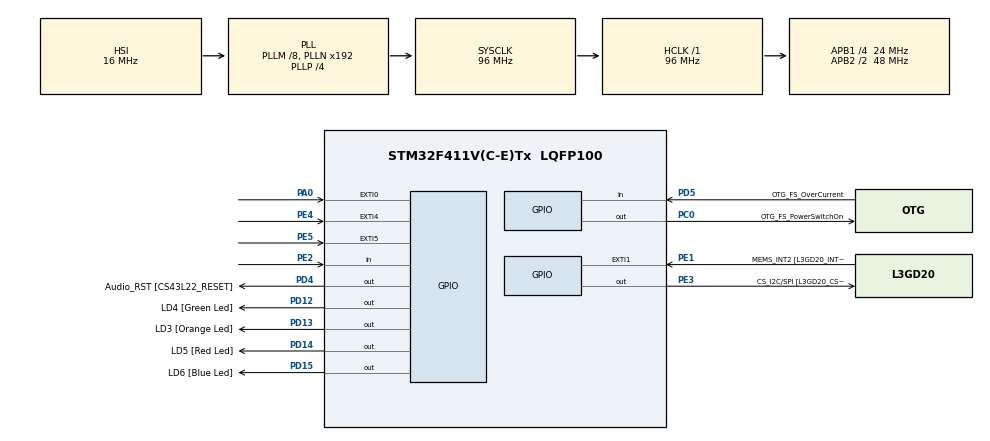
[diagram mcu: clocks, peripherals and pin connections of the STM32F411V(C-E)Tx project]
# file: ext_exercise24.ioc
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FREERTOS.BinarySemaphores01=Blue2Green,Dynamic,NULL;Blue2Red,Dynamic,NULL
FREERTOS.INCLUDE_uxTaskGetStackHighWaterMark=1
FREERTOS.Tasks01=GreenLED,0,128,StartGreenLED,Default,NULL,Dynamic,NULL,NULL;RedLED,0,128,StartRedLED,Default,NULL,Dynamic,NULL,NULL;BlueLED,0,128,StartBueLED,Default,NULL,Dynamic,NULL,NULL
Mcu.Family=STM32F4
Mcu.Name=STM32F411V(C-E)Tx
Mcu.Package=LQFP100
NVIC.PriorityGroup=NVIC_PRIORITYGROUP_4
NVIC.TIM1_UP_TIM10_IRQn=true\:0\:0\:false\:false\:true\:false\:false\:true
NVIC.TimeBase=TIM1_UP_TIM10_IRQn
NVIC.TimeBaseIP=TIM1
PA0-WKUP.GPIO_ModeDefaultEXTI=GPIO_MODE_EVT_RISING
PA0-WKUP.Signal=GPXTI0
PA10.GPIO_Label=OTG_FS_ID
PA10.Signal=USB_OTG_FS_ID
PA11.GPIO_Label=OTG_FS_DM
PA11.Signal=USB_OTG_FS_DM
PA12.GPIO_Label=OTG_FS_DP
PA12.Signal=USB_OTG_FS_DP
PA13.GPIO_Label=SWDIO
PA13.Signal=SYS_JTMS-SWDIO
PA14.GPIO_Label=SWCLK
PA14.Signal=SYS_JTCK-SWCLK
PA4.GPIO_Label=I2S3_WS [CS43L22_LRCK]
PA4.GPIO_Mode=GPIO_MODE_AF_PP
PA4.GPIO_PuPd=GPIO_NOPULL
PA4.GPIO_Speed=GPIO_SPEED_FREQ_LOW
PA4.Signal=I2S3_WS
PA5.GPIO_Label=SPI1_SCK [L3GD20_SC/SPC]
PA5.Signal=SPI1_SCK
PA6.GPIO_Label=SPI1_MISO [L3GD20_AS0/SDO]
PA6.Signal=SPI1_MISO
PA7.GPIO_Label=SPI1_MOSI [L3GD20_SDA/SDI/SDO]
PA7.Signal=SPI1_MOSI
PA9.GPIO_Label=VBUS_FS
PA9.Signal=USB_OTG_FS_VBUS
PB10.GPIO_Label=CLK_IN [MP45DT02_CLK]
PB10.Signal=I2S2_CK
PB12.Signal=I2S2_WS
PB3.GPIO_Label=SWO
PB3.Signal=SYS_JTDO-SWO
PB6.GPIO_Label=Audio_SCL [CS43L22_SCL]
PB6.GPIO_Mode=GPIO_MODE_AF_OD
PB6.GPIO_PuPd=GPIO_NOPULL
PB6.GPIO_Speed=GPIO_SPEED_FREQ_LOW
PB6.Signal=I2C1_SCL
PB9.GPIO_Label=Audio_SDA [CS43L22_SDA]
PB9.GPIO_Mode=GPIO_MODE_AF_OD
PB9.GPIO_PuPd=GPIO_NOPULL
PB9.GPIO_Speed=GPIO_SPEED_FREQ_LOW
PB9.Signal=I2C1_SDA
PC0.GPIO_Label=OTG_FS_PowerSwitchOn
PC0.PinState=GPIO_PIN_SET
PC0.Signal=GPIO_Output
PC10.GPIO_Label=I2S3_SCK [CS43L22_SCLK]
PC10.GPIO_Mode=GPIO_MODE_AF_PP
PC10.GPIO_PuPd=GPIO_NOPULL
PC10.GPIO_Speed=GPIO_SPEED_FREQ_LOW
PC10.Signal=I2S3_CK
PC12.GPIO_Label=I2S3_SD [CS43L22_SDIN]
PC12.GPIO_Mode=GPIO_MODE_AF_PP
PC12.GPIO_PuPd=GPIO_NOPULL
PC12.GPIO_Speed=GPIO_SPEED_FREQ_LOW
PC12.Signal=I2S3_SD
PC14-OSC32_IN.GPIO_Label=PC14-OSC32_IN
PC14-OSC32_IN.Signal=RCC_OSC32_IN
PC15-OSC32_OUT.GPIO_Label=PC15-OSC32_OUT
PC15-OSC32_OUT.Signal=RCC_OSC32_OUT
PC3.GPIO_Label=PDM_OUT [MP45DT02_DOUT]
PC3.Signal=I2S2_SD
PC7.GPIO_Label=I2S3_MCK [CS43L22_MCLK]
PC7.GPIO_Mode=GPIO_MODE_AF_PP
PC7.GPIO_PuPd=GPIO_NOPULL
PC7.GPIO_Speed=GPIO_SPEED_FREQ_LOW
PC7.Signal=I2S3_MCK
PD12.GPIO_Label=LD4 [Green Led]
PD12.GPIO_PuPd=GPIO_NOPULL
PD12.GPIO_Speed=GPIO_SPEED_FREQ_LOW
PD12.Signal=GPIO_Output
PD13.GPIO_Label=LD3 [Orange Led]
PD13.GPIO_PuPd=GPIO_NOPULL
PD13.GPIO_Speed=GPIO_SPEED_FREQ_LOW
PD13.Signal=GPIO_Output
PD14.GPIO_Label=LD5 [Red Led]
PD14.GPIO_PuPd=GPIO_NOPULL
PD14.GPIO_Speed=GPIO_SPEED_FREQ_LOW
PD14.Signal=GPIO_Output
PD15.GPIO_Label=LD6 [Blue Led]
PD15.GPIO_PuPd=GPIO_NOPULL
PD15.GPIO_Speed=GPIO_SPEED_FREQ_LOW
PD15.Signal=GPIO_Output
PD4.GPIO_Label=Audio_RST [CS43L22_RESET]
PD4.Signal=GPIO_Output
PD5.GPIO_Label=OTG_FS_OverCurrent
PD5.Signal=GPIO_Input
PE1.GPIO_Label=MEMS_INT2 [L3GD20_INT2]
PE1.GPIO_ModeDefaultEXTI=GPIO_MODE_EVT_RISING
PE1.Signal=GPXTI1
PE2.Signal=GPIO_Input
PE3.GPIO_Label=CS_I2C/SPI [L3GD20_CS_I2C/SPI]
PE3.Signal=GPIO_Output
PE4.GPIO_ModeDefaultEXTI=GPIO_MODE_EVT_RISING
PE4.Signal=GPXTI4
PE5.GPIO_ModeDefaultEXTI=GPIO_MODE_EVT_RISING
PE5.Signal=GPXTI5
PH0\ -\ OSC_IN.GPIO_Label=PH0-OSC_IN
PH0\ -\ OSC_IN.Signal=RCC_OSC_IN
PH1\ -\ OSC_OUT.GPIO_Label=PH1-OSC_OUT
PH1\ -\ OSC_OUT.Signal=RCC_OSC_OUT
ProjectManager.HeapSize=0x200
ProjectManager.StackSize=0x400
ProjectManager.TargetToolchain=STM32CubeIDE
RCC.48MHZClocksFreq_Value=48000000
RCC.AHBFreq_Value=96000000
RCC.APB1CLKDivider=RCC_HCLK_DIV4
RCC.APB1Freq_Value=24000000
RCC.APB1TimFreq_Value=48000000
RCC.APB2CLKDivider=RCC_HCLK_DIV2
RCC.APB2Freq_Value=48000000
RCC.APB2TimFreq_Value=96000000
RCC.CortexFreq_Value=96000000
RCC.HCLKFreq_Value=96000000
RCC.HSE_VALUE=8000000
RCC.HSI_VALUE=16000000
RCC.LSE_VALUE=32768
RCC.PLLI2SM=5
RCC.PLLI2SN=200
RCC.PLLM=8
RCC.PLLP=RCC_PLLP_DIV4
RCC.PLLQ=8
RCC.SYSCLKFreq_VALUE=96000000
RCC.SYSCLKSource=RCC_SYSCLKSOURCE_PLLCLK
RCC.VCOOutputFreq_Value=384000000
VP_FREERTOS_VS_CMSIS_V1.Mode=CMSIS_V1
VP_SYS_VS_tim1.Mode=TIM1
board=STM32F411E-DISCO

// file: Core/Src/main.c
/* USER CODE BEGIN Header */
/**
  ******************************************************************************
  * @file           : main.c
  * @brief          : Main program body
  ******************************************************************************
  * @attention
  *
  * <h2><center>&copy; Copyright (c) 2021 STMicroelectronics.
  * All rights reserved.</center></h2>
  *
  * This software component is licensed by ST under BSD 3-Clause license,
  * the "License"; You may not use this file except in compliance with the
  * License. You may obtain a copy of the License at:
  *                        opensource.org/licenses/BSD-3-Clause
  *
  ******************************************************************************
  */
/* USER CODE END Header */

#include "main.h"
#include "cmsis_os.h"

#define RED GPIO_PIN_14
#define GREEN GPIO_PIN_12
#define BLUE GPIO_PIN_15

osThreadId RedLEDHandle;
osThreadId GreenLEDHandle;
osThreadId BlueLEDHandle;
osSemaphoreId Blue2GreenHandle;
osSemaphoreId Blue2RedHandle;
/* USER CODE BEGIN PV */
int GreenStackHighWaterMark1 = 0;
int GreenStackHighWaterMark2 = 0;
int RedStackHighWaterMark1 = 0;
int RedStackHighWaterMark2 = 0;
int BlueStackHighWaterMark1 = 0;
int BlueStackHighWaterMark2 = 0;
/* USER CODE END PV */

void SystemClock_Config(void);
static void MX_GPIO_Init(void);
void StartRedLED(void const * argument);
void StartGreenLED(void const * argument);
void StartBlueLED(void const * argument);

int main(void)
{

  /* MCU Configuration--------------------------------------------------------*/

  /* Reset of all peripherals, Initializes the Flash interface and the Systick. */
	HAL_Init();

  /* Configure the system clock */
  SystemClock_Config();

  /* Initialize all configured peripherals */
  MX_GPIO_Init();

  /* Create the semaphores(s) */
  /* definition and creation of Blue2Green */
  osSemaphoreDef(Blue2Green);
  Blue2GreenHandle = osSemaphoreCreate(osSemaphore(Blue2Green), 1);

  /* definition and creation of Blue2Red */
  osSemaphoreDef(Blue2Red);
  Blue2RedHandle = osSemaphoreCreate(osSemaphore(Blue2Red), 1);

  /* USER CODE BEGIN RTOS_SEMAPHORES */
  osSemaphoreWait(Blue2GreenHandle, 0);
  osSemaphoreWait(Blue2RedHandle, 0);
  /* USER CODE END RTOS_SEMAPHORES */

  /* Create the thread(s) */
  /* definition and creation of RedLED */
  osThreadDef(RedLED, StartRedLED, osPriorityNormal, 0, 30);
  RedLEDHandle = osThreadCreate(osThread(RedLED), NULL);
  RedStackHighWaterMark1 = uxTaskGetStackHighWaterMark(RedLEDHandle);
  HAL_Delay(1000);

  /* definition and creation of GreenLED */
  osThreadDef(GreenLED, StartGreenLED, osPriorityNormal, 0, 48);
  GreenLEDHandle = osThreadCreate(osThread(GreenLED), NULL);
  GreenStackHighWaterMark1 = uxTaskGetStackHighWaterMark(GreenLEDHandle);
  HAL_Delay(1000);

  /* definition and creation of BlueLED */
  osThreadDef(BlueLED, StartBlueLED, osPriorityNormal, 0, 44);
  BlueLEDHandle = osThreadCreate(osThread(BlueLED), NULL);
  BlueStackHighWaterMark1 = uxTaskGetStackHighWaterMark(BlueLEDHandle);
  HAL_Delay(1000);

  /* Start scheduler */
  osKernelStart();

  /* We should never get here as control is now taken by the scheduler */

  /* Infinite loop */
  while (1)
  {

  }
}

void SystemClock_Config(void)
{
  RCC_OscInitTypeDef RCC_OscInitStruct = {0};
  RCC_ClkInitTypeDef RCC_ClkInitStruct = {0};

  /** Configure the main internal regulator output voltage
  */
  __HAL_RCC_PWR_CLK_ENABLE();
  __HAL_PWR_VOLTAGESCALING_CONFIG(PWR_REGULATOR_VOLTAGE_SCALE1);
  /** Initializes the CPU, AHB and APB busses clocks
  */
  RCC_OscInitStruct.OscillatorType = RCC_OSCILLATORTYPE_HSI;
  RCC_OscInitStruct.HSIState = RCC_HSI_ON;
  RCC_OscInitStruct.HSICalibrationValue = RCC_HSICALIBRATION_DEFAULT;
  RCC_OscInitStruct.PLL.PLLState = RCC_PLL_ON;
  RCC_OscInitStruct.PLL.PLLSource = RCC_PLLSOURCE_HSI;
  RCC_OscInitStruct.PLL.PLLM = 8;
  RCC_OscInitStruct.PLL.PLLN = 192;
  RCC_OscInitStruct.PLL.PLLP = RCC_PLLP_DIV4;
  RCC_OscInitStruct.PLL.PLLQ = 8;
  if (HAL_RCC_OscConfig(&RCC_OscInitStruct) != HAL_OK)
  {
    Error_Handler();
  }
  /** Initializes the CPU, AHB and APB busses clocks
  */
  RCC_ClkInitStruct.ClockType = RCC_CLOCKTYPE_HCLK|RCC_CLOCKTYPE_SYSCLK
                              |RCC_CLOCKTYPE_PCLK1|RCC_CLOCKTYPE_PCLK2;
  RCC_ClkInitStruct.SYSCLKSource = RCC_SYSCLKSOURCE_PLLCLK;
  RCC_ClkInitStruct.AHBCLKDivider = RCC_SYSCLK_DIV1;
  RCC_ClkInitStruct.APB1CLKDivider = RCC_HCLK_DIV4;
  RCC_ClkInitStruct.APB2CLKDivider = RCC_HCLK_DIV2;

  if (HAL_RCC_ClockConfig(&RCC_ClkInitStruct, FLASH_LATENCY_3) != HAL_OK)
  {
    Error_Handler();
  }
}

static void MX_GPIO_Init(void)
{
  GPIO_InitTypeDef GPIO_InitStruct = {0};

  /* GPIO Ports Clock Enable */
  __HAL_RCC_GPIOE_CLK_ENABLE();
  __HAL_RCC_GPIOC_CLK_ENABLE();
  __HAL_RCC_GPIOH_CLK_ENABLE();
  __HAL_RCC_GPIOA_CLK_ENABLE();
  __HAL_RCC_GPIOB_CLK_ENABLE();
  __HAL_RCC_GPIOD_CLK_ENABLE();

  /*Configure GPIO pin Output Level */
  HAL_GPIO_WritePin(CS_I2C_SPI_GPIO_Port, CS_I2C_SPI_Pin, GPIO_PIN_RESET);

  /*Configure GPIO pin Output Level */
  HAL_GPIO_WritePin(OTG_FS_PowerSwitchOn_GPIO_Port, OTG_FS_PowerSwitchOn_Pin, GPIO_PIN_SET);

  /*Configure GPIO pin Output Level */
  HAL_GPIO_WritePin(GPIOD, LD4_Pin|LD3_Pin|LD5_Pin|LD6_Pin
                          |Audio_RST_Pin, GPIO_PIN_RESET);

  /*Configure GPIO pin : PE2 */
  GPIO_InitStruct.Pin = GPIO_PIN_2;
  GPIO_InitStruct.Mode = GPIO_MODE_INPUT;
  GPIO_InitStruct.Pull = GPIO_NOPULL;
  HAL_GPIO_Init(GPIOE, &GPIO_InitStruct);

  /*Configure GPIO pin : CS_I2C_SPI_Pin */
  GPIO_InitStruct.Pin = CS_I2C_SPI_Pin;
  GPIO_InitStruct.Mode = GPIO_MODE_OUTPUT_PP;
  GPIO_InitStruct.Pull = GPIO_NOPULL;
  GPIO_InitStruct.Speed = GPIO_SPEED_FREQ_LOW;
  HAL_GPIO_Init(CS_I2C_SPI_GPIO_Port, &GPIO_InitStruct);

  /*Configure GPIO pins : PE4 PE5 MEMS_INT2_Pin */
  GPIO_InitStruct.Pin = GPIO_PIN_4|GPIO_PIN_5|MEMS_INT2_Pin;
  GPIO_InitStruct.Mode = GPIO_MODE_EVT_RISING;
  GPIO_InitStruct.Pull = GPIO_NOPULL;
  HAL_GPIO_Init(GPIOE, &GPIO_InitStruct);

  /*Configure GPIO pin : OTG_FS_PowerSwitchOn_Pin */
  GPIO_InitStruct.Pin = OTG_FS_PowerSwitchOn_Pin;
  GPIO_InitStruct.Mode = GPIO_MODE_OUTPUT_PP;
  GPIO_InitStruct.Pull = GPIO_NOPULL;
  GPIO_InitStruct.Speed = GPIO_SPEED_FREQ_LOW;
  HAL_GPIO_Init(OTG_FS_PowerSwitchOn_GPIO_Port, &GPIO_InitStruct);

  /*Configure GPIO pin : PDM_OUT_Pin */
  GPIO_InitStruct.Pin = PDM_OUT_Pin;
  GPIO_InitStruct.Mode = GPIO_MODE_AF_PP;
  GPIO_InitStruct.Pull = GPIO_NOPULL;
  GPIO_InitStruct.Speed = GPIO_SPEED_FREQ_LOW;
  GPIO_InitStruct.Alternate = GPIO_AF5_SPI2;
  HAL_GPIO_Init(PDM_OUT_GPIO_Port, &GPIO_InitStruct);

  /*Configure GPIO pin : PA0 */
  GPIO_InitStruct.Pin = GPIO_PIN_0;
  GPIO_InitStruct.Mode = GPIO_MODE_EVT_RISING;
  GPIO_InitStruct.Pull = GPIO_NOPULL;
  HAL_GPIO_Init(GPIOA, &GPIO_InitStruct);

  /*Configure GPIO pin : I2S3_WS_Pin */
  GPIO_InitStruct.Pin = I2S3_WS_Pin;
  GPIO_InitStruct.Mode = GPIO_MODE_AF_PP;
  GPIO_InitStruct.Pull = GPIO_NOPULL;
  GPIO_InitStruct.Speed = GPIO_SPEED_FREQ_LOW;
  GPIO_InitStruct.Alternate = GPIO_AF6_SPI3;
  HAL_GPIO_Init(I2S3_WS_GPIO_Port, &GPIO_InitStruct);

  /*Configure GPIO pins : SPI1_SCK_Pin SPI1_MISO_Pin SPI1_MOSI_Pin */
  GPIO_InitStruct.Pin = SPI1_SCK_Pin|SPI1_MISO_Pin|SPI1_MOSI_Pin;
  GPIO_InitStruct.Mode = GPIO_MODE_AF_PP;
  GPIO_InitStruct.Pull = GPIO_NOPULL;
  GPIO_InitStruct.Speed = GPIO_SPEED_FREQ_VERY_HIGH;
  GPIO_InitStruct.Alternate = GPIO_AF5_SPI1;
  HAL_GPIO_Init(GPIOA, &GPIO_InitStruct);

  /*Configure GPIO pins : CLK_IN_Pin PB12 */
  GPIO_InitStruct.Pin = CLK_IN_Pin|GPIO_PIN_12;
  GPIO_InitStruct.Mode = GPIO_MODE_AF_PP;
  GPIO_InitStruct.Pull = GPIO_NOPULL;
  GPIO_InitStruct.Speed = GPIO_SPEED_FREQ_LOW;
  GPIO_InitStruct.Alternate = GPIO_AF5_SPI2;
  HAL_GPIO_Init(GPIOB, &GPIO_InitStruct);

  /*Configure GPIO pins : LD4_Pin LD3_Pin LD5_Pin LD6_Pin
                           Audio_RST_Pin */
  GPIO_InitStruct.Pin = LD4_Pin|LD3_Pin|LD5_Pin|LD6_Pin
                          |Audio_RST_Pin;
  GPIO_InitStruct.Mode = GPIO_MODE_OUTPUT_PP;
  GPIO_InitStruct.Pull = GPIO_NOPULL;
  GPIO_InitStruct.Speed = GPIO_SPEED_FREQ_LOW;
  HAL_GPIO_Init(GPIOD, &GPIO_InitStruct);

  /*Configure GPIO pins : I2S3_MCK_Pin I2S3_SCK_Pin I2S3_SD_Pin */
  GPIO_InitStruct.Pin = I2S3_MCK_Pin|I2S3_SCK_Pin|I2S3_SD_Pin;
  GPIO_InitStruct.Mode = GPIO_MODE_AF_PP;
  GPIO_InitStruct.Pull = GPIO_NOPULL;
  GPIO_InitStruct.Speed = GPIO_SPEED_FREQ_LOW;
  GPIO_InitStruct.Alternate = GPIO_AF6_SPI3;
  HAL_GPIO_Init(GPIOC, &GPIO_InitStruct);

  /*Configure GPIO pin : VBUS_FS_Pin */
  GPIO_InitStruct.Pin = VBUS_FS_Pin;
  GPIO_InitStruct.Mode = GPIO_MODE_INPUT;
  GPIO_InitStruct.Pull = GPIO_NOPULL;
  HAL_GPIO_Init(VBUS_FS_GPIO_Port, &GPIO_InitStruct);

  /*Configure GPIO pins : OTG_FS_ID_Pin OTG_FS_DM_Pin OTG_FS_DP_Pin */
  GPIO_InitStruct.Pin = OTG_FS_ID_Pin|OTG_FS_DM_Pin|OTG_FS_DP_Pin;
  GPIO_InitStruct.Mode = GPIO_MODE_AF_PP;
  GPIO_InitStruct.Pull = GPIO_NOPULL;
  GPIO_InitStruct.Speed = GPIO_SPEED_FREQ_VERY_HIGH;
  GPIO_InitStruct.Alternate = GPIO_AF10_OTG_FS;
  HAL_GPIO_Init(GPIOA, &GPIO_InitStruct);

  /*Configure GPIO pin : OTG_FS_OverCurrent_Pin */
  GPIO_InitStruct.Pin = OTG_FS_OverCurrent_Pin;
  GPIO_InitStruct.Mode = GPIO_MODE_INPUT;
  GPIO_InitStruct.Pull = GPIO_NOPULL;
  HAL_GPIO_Init(OTG_FS_OverCurrent_GPIO_Port, &GPIO_InitStruct);

  /*Configure GPIO pins : Audio_SCL_Pin Audio_SDA_Pin */
  GPIO_InitStruct.Pin = Audio_SCL_Pin|Audio_SDA_Pin;
  GPIO_InitStruct.Mode = GPIO_MODE_AF_OD;
  GPIO_InitStruct.Pull = GPIO_PULLUP;
  GPIO_InitStruct.Speed = GPIO_SPEED_FREQ_LOW;
  GPIO_InitStruct.Alternate = GPIO_AF4_I2C1;
  HAL_GPIO_Init(GPIOB, &GPIO_InitStruct);

}

/* USER CODE BEGIN 4 */
void vApplicationStackOverflowHook(TaskHandle_t xTask, signed char* pcTaskName){
	if(xTask == GreenLEDHandle){
		for(;;){
			HAL_GPIO_TogglePin(GPIOD, GREEN);
			HAL_Delay(50);
		}
	}
	else if(xTask == RedLEDHandle){
		for(;;){
			HAL_GPIO_TogglePin(GPIOD, RED);
			HAL_Delay(50);
		}
	}
	else if(xTask == BlueLEDHandle){
		for(;;){
			HAL_GPIO_TogglePin(GPIOD, BLUE);
			HAL_Delay(50);
		}
	}
}

/* USER CODE END 4 */

void StartRedLED(void const * argument)
{
  /* USER CODE BEGIN 5 */
  /* Infinite loop */
	RedStackHighWaterMark2 = uxTaskGetStackHighWaterMark(RedLEDHandle);
  for(;;)
  {
    osSemaphoreWait(Blue2RedHandle, osWaitForever);
    for(int i = 0; i < 100*2; i++){
    	HAL_GPIO_TogglePin(GPIOD, RED);
    	osDelay(50);
    }
    RedStackHighWaterMark2 = uxTaskGetStackHighWaterMark(RedLEDHandle);
  }
  /* USER CODE END 5 */
}

void StartGreenLED(void const * argument)
{
  /* USER CODE BEGIN StartGreenLED */
  /* Infinite loop */
	GreenStackHighWaterMark2 = uxTaskGetStackHighWaterMark(GreenLEDHandle);
	  for(;;)
	  {
	    osSemaphoreWait(Blue2GreenHandle, osWaitForever);
	    for(int i = 0; i < 100*2; i++){
	    	HAL_GPIO_TogglePin(GPIOD, GREEN);
	    	osDelay(50);
	    }
	    GreenStackHighWaterMark2 = uxTaskGetStackHighWaterMark(GreenLEDHandle);
	  }
  /* USER CODE END StartGreenLED */
}

void StartBlueLED(void const * argument)
{
  /* USER CODE BEGIN StartBlueLED */
  /* Infinite loop */
	BlueStackHighWaterMark2 = uxTaskGetStackHighWaterMark(BlueLEDHandle);
  for(;;)
  {
    for(int i = 0; i < 10*2; i++){
    	HAL_GPIO_TogglePin(GPIOD, BLUE);
    	osDelay(500);
    }

    osSemaphoreRelease(Blue2GreenHandle);

    osDelay(6000);

    osSemaphoreRelease(Blue2RedHandle);

    BlueStackHighWaterMark2 = uxTaskGetStackHighWaterMark(BlueLEDHandle);
  }
  /* USER CODE END StartBlueLED */
}

void HAL_TIM_PeriodElapsedCallback(TIM_HandleTypeDef *htim)
{
  if (htim->Instance == TIM1) {
    HAL_IncTick();
  }
}

void Error_Handler(void)
{
}

/************************ (C) COPYRIGHT STMicroelectronics *****END OF FILE****/
